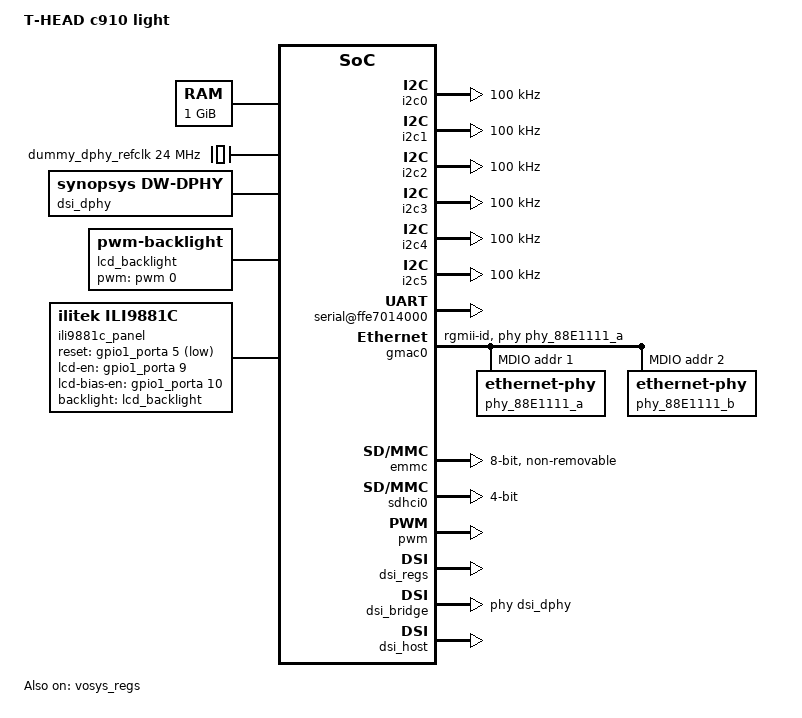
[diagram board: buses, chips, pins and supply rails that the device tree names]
/dts-v1/;
/ {
	model = "T-HEAD c910 light";
	compatible = "thead,c910_light";
	#address-cells = <2>;
	#size-cells = <2>;

	memory@0 {
		device_type = "memory";
		reg = <0x0 0xc0000000 0x0 0x40000000>;
	};

	aliases {
		spi0 = &spi0;
		spi1 = &qspi0;
		spi2 = &qspi1;
	};

	cpus {
		#address-cells = <1>;
		#size-cells = <0>;
		timebase-frequency = <3000000>;
		u-boot,dm-pre-reloc;
		cpu@0 {
			device_type = "cpu";
			reg = <0>;
			status = "okay";
			compatible = "riscv";
			riscv,isa = "rv64imafdcvsu";
			mmu-type = "riscv,sv39";
			u-boot,dm-pre-reloc;
		};
	};

	soc {
		#address-cells = <2>;
		#size-cells = <2>;
		compatible = "simple-bus";
		ranges;
		u-boot,dm-pre-reloc;

		dummy_apb: apb-clock {
			compatible = "fixed-clock";
			clock-frequency = <62500000>;
			clock-output-names = "dummy_apb";
			#clock-cells = <0>;
			u-boot,dm-pre-reloc;
		};

		dummy_ahb: ahb-clock {
			compatible = "fixed-clock";
			clock-frequency = <250000000>;
			clock-output-names = "core";
			#clock-cells = <0>;
			u-boot,dm-pre-reloc;
		};

		dummy_spi: spi-clock {
			compatible = "fixed-clock";
			clock-frequency = <396000000>;
			clock-output-names = "dummy_spi";
			#clock-cells = <0>;
			u-boot,dm-pre-reloc;
		};

		dummy_qspi0: qspi0-clock {
			compatible = "fixed-clock";
			clock-frequency = <792000000>;
			clock-output-names = "dummy_qspi0";
			#clock-cells = <0>;
			u-boot,dm-pre-reloc;
		};

		dummy_uart_sclk: uart-sclk-clock {
			compatible = "fixed-clock";
			clock-frequency = <100000000>;
			clock-output-names = "dummy_uart_sclk";
			#clock-cells = <0>;
			u-boot,dm-pre-reloc;
		};

		dummy_i2c_icclk: i2c-icclk-clock {
			compatible = "fixed-clock";
			clock-frequency = <50000000>;
			clock-output-names = "dummy_i2c_icclk";
			#clock-cells = <0>;
			u-boot,dm-pre-reloc;
		};

		dummy_dpu_pixclk: dpu-pix-clock {
			compatible = "fixed-clock";
			clock-frequency = <74250000>;
			clock-output-names = "dummy_dpu_pixclk";
			#clock-cells = <0>;
			u-boot,dm-pre-reloc;
		};

		dummy_dphy_refclk: dphy-ref-clock {
			compatible = "fixed-clock";
			clock-frequency = <24000000>;
			clock-output-names = "dummy_dpu_refclk";
			#clock-cells = <0>;
			u-boot,dm-pre-reloc;
		};

		i2c0: i2c@ffe7f20000 {
			compatible = "snps,designware-i2c";
			reg = <0xff 0xe7f20000 0x0 0x4000>;
			clocks = <&dummy_i2c_icclk>;
			clock-frequency = <100000>;

			#address-cells = <1>;
			#size-cells = <0>;
		};

		i2c1: i2c@ffe7f24000{
			compatible = "snps,designware-i2c";
			reg = <0xff 0xe7f24000 0x0 0x4000>;
			clocks = <&dummy_i2c_icclk>;
			clock-frequency = <100000>;

			#address-cells = <1>;
			#size-cells = <0>;
		};

		i2c2: i2c@ffec00c000{
			compatible = "snps,designware-i2c";
			reg = <0xff 0xec00c000 0x0 0x4000>;
			clocks = <&dummy_i2c_icclk>;
			clock-frequency = <100000>;

			#address-cells = <1>;
			#size-cells = <0>;
		};

		i2c3: i2c@ffec014000{
			compatible = "snps,designware-i2c";
			reg = <0xff 0xec014000 0x0 0x4000>;
			clocks = <&dummy_i2c_icclk>;
			clock-frequency = <100000>;

			#address-cells = <1>;
			#size-cells = <0>;
		};

		i2c4: i2c@ffe7f28000{
			compatible = "snps,designware-i2c";
			reg = <0xff 0xe7f28000 0x0 0x4000>;
			clocks = <&dummy_i2c_icclk>;
			clock-frequency = <100000>;

			#address-cells = <1>;
			#size-cells = <0>;
		};

		i2c5: i2c@fff7f2c000{
			compatible = "snps,designware-i2c";
			reg = <0xff 0xf7f2c000 0x0 0x4000>;
			clocks = <&dummy_i2c_icclk>;
			clock-frequency = <100000>;

			#address-cells = <1>;
			#size-cells = <0>;
		};

		serial@ffe7014000 {
			compatible = "snps,dw-apb-uart";
			reg = <0xff 0xe7014000 0x0 0x400>;
			clocks = <&dummy_uart_sclk>;
			clock-frequency = <100000000>;
			clock-names = "baudclk";
			reg-shift = <2>;
			reg-io-width = <4>;
			u-boot,dm-pre-reloc;
		};

		gmac0: ethernet@ffe7070000 {
			compatible = "snps,dwmac";
			reg = <0xff 0xe7070000 0x0 0x2000>;
			clocks = <&dummy_apb>;
			clock-names = "stmmaceth";
			snps,pbl = <32>;
			snps,fixed-burst;

			phy-mode = "rgmii-id";
			phy-handle = <&phy_88E1111_a>;
			status = "okay";
			mdio0 {
				#address-cells = <1>;
				#size-cells = <0>;
				compatible = "snps,dwmac-mdio";

				phy_88E1111_a: ethernet-phy@1 {
					reg = <0x1>;
				};

				phy_88E1111_b: ethernet-phy@2 {
					reg = <0x2>;
				};
			};
		};

		gmac1: ethernet@ffe7060000 {
			compatible = "snps,dwmac";
			reg = <0xff 0xe7060000 0x0 0x2000>;
			clocks = <&dummy_apb>;
			clock-names = "stmmaceth";
			snps,pbl = <32>;
			snps,fixed-burst;
			phy-mode = "rgmii-id";
			phy-handle = <&phy_88E1111_b>;
			status = "disabled";
		};

		emmc: sdhci@ffe7080000 {
			compatible = "snps,dwcmshc-sdhci";
			reg = <0xff 0xe7080000 0x0 0x10000>;
			index = <0x0>;
			clocks = <&dummy_ahb>;
			clock-frequency = <198000000>;
			clock-names = "core";
			max-frequency = <198000000>;
			sdhci-caps-mask = <0x0 0x1000000>;
			mmc-hs400-1_8v;
			non-removable;
			no-sdio;
			no-sd;
			bus-width = <8>;
			voltage= "1.8v";
			pull_up;
			io_fixed_1v8;
			fifo-mode;
			u-boot,dm-pre-reloc;
		};

		sdhci0: sd@ffe7090000 {
			compatible = "snps,dwcmshc-sdhci";
			reg = <0xff 0xe7090000 0x0 0x10000>;
			index = <0x1>;
			clocks = <&dummy_ahb>;
			clock-frequency = <198000000>;
			max-frequency = <198000000>;
			sd-uhs-sdr104;
			pull_up;
			clock-names = "core";
			bus-width = <4>;
			voltage= "3.3v";
		};

		qspi0: spi@ffea000000 {
			compatible = "snps,dw-apb-ssi-quad";
			reg = <0xff 0xea000000 0x0 0x1000>;
			clocks = <&dummy_qspi0>;
			num-cs = <1>;
			cs-gpio = <&gpio2_porta 3 0>; // GPIO_ACTIVE_HIGH: 0
			spi-max-frequency = <100000000>;
			#address-cells = <1>;
			#size-cells =<0>;
			status = "disabled";
			spi-flash@0 {
				#address-cells = <1>;
				#size-cells = <1>;
				compatible = "spi-nand";
				spi-tx-bus-width = <4>;
				spi-rx-bus-width = <4>;
				reg = <0>;
			};
		};

		qspi1: spi@fff8000000 {
			compatible = "snps,dw-apb-ssi-quad";
			reg = <0xff 0xf8000000 0x0 0x1000>;
			clocks = <&dummy_spi>;
			num-cs = <1>;
			cs-gpio = <&gpio0_porta 1 0>; // GPIO_ACTIVE_HIGH: 0
			spi-max-frequency = <66000000>;
			#address-cells = <1>;
			#size-cells =<0>;
			status = "disabled";
			spi-flash@0 {
				#address-cells = <1>;
				#size-cells = <1>;
				compatible = "spi-nand";
				spi-tx-bus-width = <4>;
				spi-rx-bus-width = <4>;
				reg = <0>;
			};
		};

		spi0: spi@ffe700c000 {
			compatible = "snps,dw-apb-ssi";
			reg = <0xff 0xe700c000 0x0 0x1000>;
			clocks = <&dummy_spi>;
			cs-gpio = <&gpio2_porta 15 0>;
			spi-max-frequency = <100000000>;
			#address-cells = <1>;
			#size-cells = <0>;
			status = "disabled";
			flash@0 {
				compatible = "jedec,spi-nor";
				reg = <0>;
				spi-max-frequency = <40000000>;
			};
		};

		gpio2: gpio@ffe7f34000 {
			compatible = "snps,dw-apb-gpio";
			reg = <0xff 0xe7f34000 0x0 0x1000>;
			clocks = <&dummy_apb>;
			#address-cells = <1>;
			#size-cells = <0>;
			gpio2_porta: gpio-controller@0 {
				compatible = "snps,dw-apb-gpio-port";
				gpio-controller;
				#gpio-cells = <2>;
				snps,nr-gpios = <32>;
				reg = <0>;
			};
		};

		gpio0: gpio@ffec005000 {
			compatible = "snps,dw-apb-gpio";
			reg = <0xff 0xec005000 0x0 0x1000>;
			clocks = <&dummy_apb>;
			#address-cells = <1>;
			#size-cells = <0>;
			gpio0_porta: gpio-controller@0 {
				compatible = "snps,dw-apb-gpio-port";
				gpio-controller;
				#gpio-cells = <2>;
				snps,nr-gpios = <32>;
				reg = <0>;
			};
		};

		gpio1: gpio@ffec006000 {
			compatible = "snps,dw-apb-gpio";
			reg = <0xff 0xec006000 0x0 0x1000>;
			clocks = <&dummy_apb>;
			#address-cells = <1>;
			#size-cells = <0>;

			gpio1_porta: gpio-controller@0 {
				compatible = "snps,dw-apb-gpio-port";
				gpio-controller;
				#gpio-cells = <2>;
				snps,nr-gpios = <32>;
				reg = <0>;
			};
		};

		pwm: pwm@ffec01c000 {
			compatible = "thead,pwm-light";
			reg = <0xff 0xec01c000 0x0 0x4000>;
			#pwm-cells = <2>;
		};

		dsi_regs: dsi-controller@ffef500000 {
			compatible = "thead,light-dsi-regs", "syscon";
			reg = <0xff 0xef500000 0x0 0x10000>;
			status = "okay";
		};

		vosys_regs: vosys@ffef528000 {
			compatible = "thead,light-vo-subsys", "syscon";
			reg = <0xff 0xef528000 0x0 0x1000>;
			status = "okay";
		};

		dpu: dc8200@ffef600000 {
			compatible = "verisilicon,dc8200";
			reg = <0xff 0xef600000 0x0 0x100>;
		};

		axiscr {
			compatible = "thead,axiscr";
			reg = <0xff 0xff004000 0x0 0x1000>;
			lock-read = "okay";
			lock-write = "okay";
			#address-cells = <2>;
			#size-cells = <2>;
			u-boot,dm-pre-reloc;
			axiscr0: axisrc@0 {
				device_type = "axiscr";
				region = <0x00 0x00000000 0x00 0x80000000>; // 4KB align
				status = "disabled";
				#address-cells = <2>;
				#size-cells = <2>;
				u-boot,dm-pre-reloc;
			};
			axiscr1: axisrc@1 {
				device_type = "axiscr";
				region = <0x00 0x80000000 0x00 0x80000000>; // 4KB align
				status = "disabled";
				#address-cells = <2>;
				#size-cells = <2>;
				u-boot,dm-pre-reloc;
			};
			axiscr2: axisrc@2 {
				device_type = "axiscr";
				region = <0x01 0x00000000 0x00 0x80000000>; // 4KB align
				status = "disabled";
				#address-cells = <2>;
				#size-cells = <2>;
				u-boot,dm-pre-reloc;
			};
		};

		axiparity {
			compatible = "thead,axiparity";
			reg = <0xff 0xff00c000 0x0 0x1000>;
			lock = "okay";
			#address-cells = <2>;
			#size-cells = <2>;
			u-boot,dm-pre-reloc;
			axiparity0: axiparity@0 {
				device_type = "axiparity";
				region = <0x00 0x00000000 0x01 0x0000000>; // 4KB align
				status = "disabled";
				#address-cells = <2>;
				#size-cells = <2>;
				u-boot,dm-pre-reloc;
			};
			axiparity1: axiparity@1 {
				device_type = "axiparity";
				region = <0x01 0x00000000 0x01 0x00000000>; // 4KB align
				status = "disabled";
				#address-cells = <2>;
				#size-cells = <2>;
				u-boot,dm-pre-reloc;
			};
		};

		dsi_bridge: dsi-bridge {
			compatible = "thead,light-dsi-bridge";
			clocks = <&dummy_dpu_pixclk>;
			clock-names = "pix-clk";
			phys = <&dsi_dphy>;
			phy-names = "dphy";
		};

		dsi_host: dsi-host {
			compatible = "synopsys,dw-mipi-dsi";
			regmap = <&dsi_regs>;
			status = "okay";
		};

		dsi_dphy: dsi-dphy {
			compatible = "synopsys,dw-dphy";
			regmap = <&dsi_regs>;
			vosys-regmap = <&vosys_regs>;
			clocks = <&dummy_dpu_pixclk>, <&dummy_dphy_refclk>;
			clock-names = "pix-clk", "ref-clk";
			#phy-cells = <0>;
			status = "okay";
		};

		lcd_backlight: pwm-backlight {
			compatible = "pwm-backlight";
			pwms = <&pwm 0 5000000>;
			brightness-levels = <0 4 8 16 32 64 128 255>;
			default-brightness-level = <7>;
		};

		ili9881c_panel {
			compatible      = "ilitek,ili9881c";
			backlight       = <&lcd_backlight>;
			reset-gpios     = <&gpio1_porta 5 1>;   /* active low  */
			lcd-en-gpios    = <&gpio1_porta 9 0>; /* active high */
			lcd-bias-en-gpios = <&gpio1_porta 10 0>;/* active high */
		};
	};

	chosen {
		bootargs = "console=ttyS0,115200";
		stdout-path = "/soc/serial@ffe7014000:115200";
	};
};
